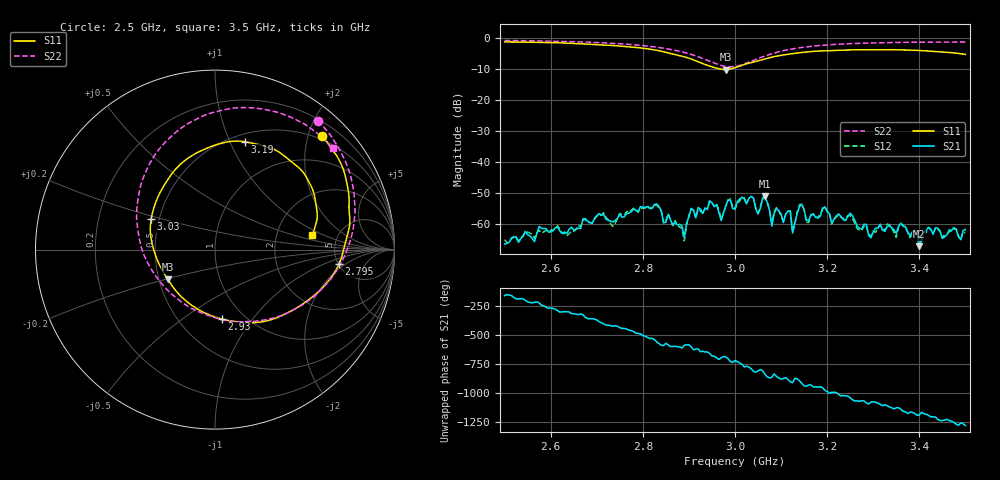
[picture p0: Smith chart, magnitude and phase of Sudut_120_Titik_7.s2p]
# Hz S RI R 50
! CMT, C1220, 16058040, 17.2.0/1
! Date: 15/08/2018 10:08:19
! Data: Format (Calibration Info)
! Freq  S11: Re/Im (F2)  S21: Re/Im (F2)  S12: Re/Im (F2)  S22: Re/Im (F2)
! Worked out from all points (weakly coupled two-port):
!   201 points, 2.5 GHz to 3.5 GHz, reference 50 ohm
!   highest |S21| = -50.91 dB at 3.065 GHz (marker M1); lowest = -67.0 dB at 3.4 GHz (marker M2)
!   lowest |S11| = -10.1 dB at 2.98 GHz (marker M3), VSWR 1.90, Z = 27.8 - j10.3 ohm
!   |S11| at or under -10 dB: 2.97 GHz to 2.988 GHz (17.23 MHz wide, 0.578 % of centre)
!   |S22| runs from -9.2 to -0.7 dB; largest |S21 - S12| = 0.00023
!   S11 on the Smith chart (normalised r, x): 2.5 GHz: 0.43, +2.25; 2.795 GHz: 5.04, -1.59; 2.93 GHz: 0.79, -0.72; 3.03 GHz: 0.45, +0.18; 3.19 GHz: 0.58, +1.14; 3.5 GHz: 3.23, +0.75
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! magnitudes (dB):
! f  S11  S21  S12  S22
! 2.5 GHz  -1.2  -66.3  -64.9  -0.7
! 2.67 GHz  -1.8  -58.2  -58.7  -1.2
! 2.795 GHz  -3.2  -54.3  -54.8  -2.3
! 2.835 GHz  -4.0  -54.2  -54.6  -3.0
! 2.89 GHz  -6.0  -64.1  -65.3  -4.6
! 2.905 GHz  -6.7  -54.9  -54.8  -5.2
! 2.93 GHz  -8.2  -56.4  -56.5  -6.5
! 2.98 GHz  -10.1  -54.0  -54.0  -9.1
! 3 GHz  -9.5  -54.8  -55.1  -9.1
! 3.03 GHz  -8.1  -51.6  -51.6  -7.7
! 3.05 GHz  -7.3  -56.6  -56.2  -6.6
! 3.065 GHz  -6.7  -50.9  -51.4  -5.8
! 3.08 GHz  -6.1  -60.5  -59.6  -5.0
! 3.09 GHz  -5.8  -54.8  -54.5  -4.6
! 3.125 GHz  -5.0  -62.7  -62.5  -3.5
! 3.14 GHz  -4.7  -54.2  -53.6  -3.1
! 3.17 GHz  -4.3  -56.8  -56.6  -2.6
! 3.19 GHz  -4.1  -55.0  -54.8  -2.3
! 3.295 GHz  -3.8  -64.3  -63.7  -1.6
! 3.335 GHz  -3.7  -60.4  -60.1  -1.4
! 3.4 GHz  -4.0  -67.0  -66.9  -1.3
! 3.5 GHz  -5.2  -61.6  -62.7  -1.2
